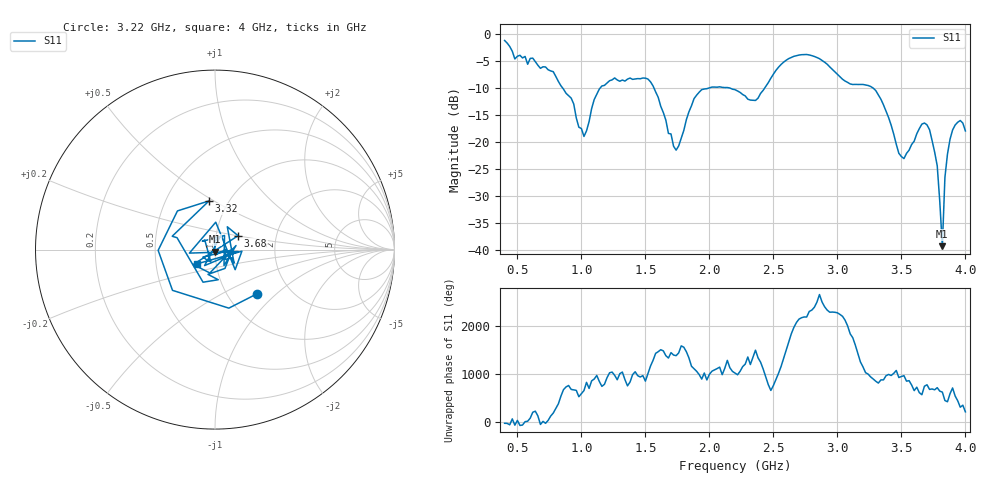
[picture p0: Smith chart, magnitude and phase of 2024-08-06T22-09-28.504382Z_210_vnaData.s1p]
!Created with skrf (http://scikit-rf.org).
# Hz S RI R 50.0
!freq ReS11 ImS11
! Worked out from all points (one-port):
!   181 points, 400 MHz to 4 GHz, reference 50 ohm
!   lowest |S11| = -39.3 dB at 3.82 GHz (marker M1), VSWR 1.02, Z = 50 - j1.08 ohm
!   |S11| at or under -10 dB: 854.6 MHz to 1.145 GHz (290.7 MHz wide, 29.1 % of centre); 1.568 GHz to 1.991 GHz (423.5 MHz wide, 23.8 % of centre); 3.281 GHz to end of sweep (the widest 3 of 4)
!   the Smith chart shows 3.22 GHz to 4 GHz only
!   S11 on the Smith chart (normalised r, x): 3.22 GHz: 1.36, -0.76; 3.32 GHz: 0.81, +0.48; 3.68 GHz: 1.28, +0.20; 4 GHz: 0.81, -0.13
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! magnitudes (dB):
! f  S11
! 400 MHz  -1.1
! 480 MHz  -4.6
! 620 MHz  -4.4
! 860 MHz  -10.2
! 1.02 GHz  -19.0
! 1.14 GHz  -10.1
! 1.3 GHz  -8.7
! 1.54 GHz  -8.8
! 1.72 GHz  -20.8
! 1.76 GHz  -20.7
! 1.94 GHz  -10.3
! 2.2 GHz  -10.3
! 2.36 GHz  -12.3
! 2.66 GHz  -4.1
! 2.86 GHz  -4.5
! 3.1 GHz  -9.2
! 3.22 GHz  -9.4
! 3.32 GHz  -11.3
! 3.48 GHz  -22.1
! 3.56 GHz  -21.5
! 3.68 GHz  -16.5
! 3.72 GHz  -17.7
! 3.78 GHz  -24.4
! 3.82 GHz  -39.3
! 3.84 GHz  -26.6
! 3.88 GHz  -19.5
! 3.96 GHz  -16.0
! 4 GHz  -17.9
